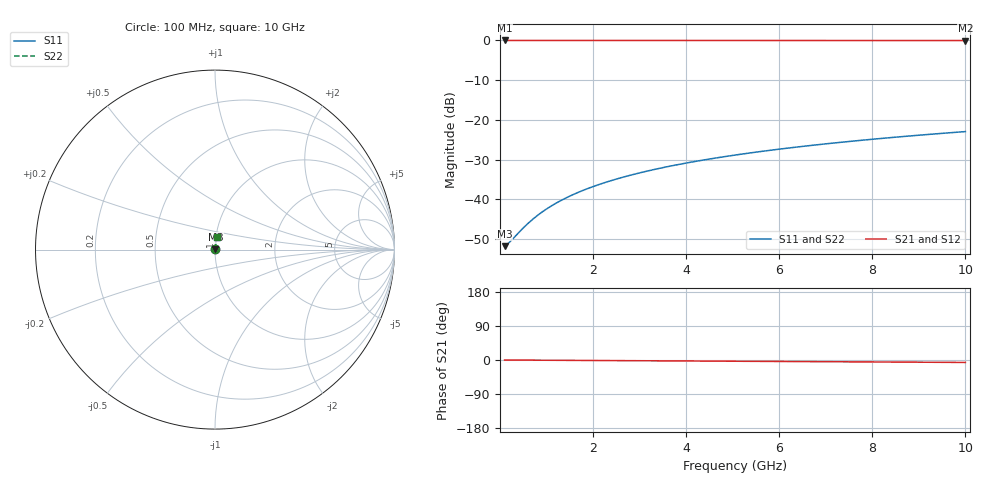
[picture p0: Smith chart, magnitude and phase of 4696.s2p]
# Hz S RI R 50.00
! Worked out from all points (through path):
!   100 points, 100 MHz to 10 GHz, reference 50 ohm
!   highest |S21| = -0.02 dB at 100 MHz (marker M1); lowest = 0.0 dB at 10 GHz (marker M2)
!   lowest |S11| = -51.7 dB at 100 MHz (marker M3), VSWR 1.01, Z = 50.2 + j0.0715 ohm
!   |S11| at or under -10 dB: start of sweep to end of sweep
!   |S22| runs from -51.7 to -22.9 dB; largest |S21 - S12| = 0
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1e8  0.00249 0.000711  0.9975 -0.00112  0.9975 -0.00112  0.00249 0.000711
2e8  0.00251 0.00142  0.9975 -0.00224  0.9975 -0.00224  0.00251 0.00142
5e8  0.00255 0.00356  0.9974 -0.00559  0.9974 -0.00559  0.00255 0.00356
6e8  0.00257 0.00427  0.9974 -0.00671  0.9974 -0.00671  0.00257 0.00427
7e8  0.00259 0.00498  0.9974 -0.00783  0.9974 -0.00783  0.00259 0.00498
9e8  0.00262 0.0064  0.9974 -0.0101  0.9974 -0.0101  0.00262 0.0064
1.1e9  0.00266 0.00782  0.9973 -0.0123  0.9973 -0.0123  0.00266 0.00782
1.3e9  0.00271 0.00924  0.9973 -0.0145  0.9973 -0.0145  0.00271 0.00924
1.5e9  0.00276 0.0107  0.9972 -0.0168  0.9972 -0.0168  0.00276 0.0107
1.8e9  0.00285 0.0128  0.9971 -0.0201  0.9971 -0.0201  0.00285 0.0128
2.1e9  0.00296 0.0149  0.997 -0.0235  0.997 -0.0235  0.00296 0.0149
2.5e9  0.00312 0.0178  0.9968 -0.028  0.9968 -0.028  0.00312 0.0178
2.9e9  0.0033 0.0206  0.9966 -0.0324  0.9966 -0.0324  0.0033 0.0206
3.4e9  0.00356 0.0241  0.9963 -0.038  0.9963 -0.038  0.00356 0.0241
3.8e9  0.0038 0.027  0.9961 -0.0425  0.9961 -0.0425  0.0038 0.027
4.2e9  0.00407 0.0298  0.9958 -0.047  0.9958 -0.047  0.00407 0.0298
5.1e9  0.00475 0.0362  0.995 -0.057  0.995 -0.057  0.00475 0.0362
5.9e9  0.00547 0.0418  0.9942 -0.0659  0.9942 -0.0659  0.00547 0.0418
6.7e9  0.00629 0.0475  0.9933 -0.0748  0.9933 -0.0748  0.00629 0.0475
7.5e9  0.00721 0.0531  0.9923 -0.0837  0.9923 -0.0837  0.00721 0.0531
8.4e9  0.00837 0.0594  0.991 -0.0937  0.991 -0.0937  0.00837 0.0594
1e10  0.0107 0.0705  0.9884 -0.1114  0.9884 -0.1114  0.0107 0.0705
